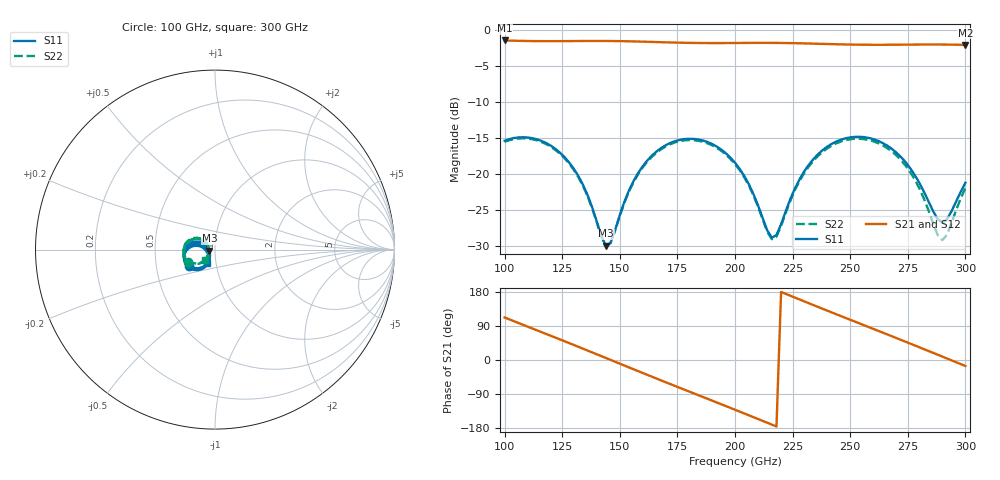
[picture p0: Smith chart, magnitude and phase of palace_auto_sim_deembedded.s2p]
! Created with skrf 1.11.0 (http://scikit-rf.org).
# GHz S DB R 50.0
!freq dBS11 angS11 dBS21 angS21 dBS12 angS12 dBS22 angS22
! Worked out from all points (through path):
!   101 points, 100 GHz to 300 GHz, reference 50 ohm
!   highest |S21| = -1.46 dB at 100 GHz (marker M1); lowest = -2.1 dB at 300 GHz (marker M2)
!   group delay of S21, straight-line fit = 6.78 ps
!   lowest |S11| = -29.9 dB at 144 GHz (marker M3), VSWR 1.07, Z = 46.9 - j0.499 ohm
!   |S11| at or under -10 dB: start of sweep to end of sweep
!   |S22| runs from -30.0 to -15.0 dB; largest |S21 - S12| = 9.4e-14
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100  -15.36 -148.0  -1.46 112.2  -1.46 112.2  -15.50 -155.3
108  -14.88 -164.3  -1.53 92.9  -1.53 92.9  -15.02 -172.2
116  -15.38 179.7  -1.56 73.6  -1.56 73.6  -15.53 171.2
126  -17.63 161.4  -1.55 49.5  -1.55 49.5  -17.78 152.1
134  -21.45 151.7  -1.54 29.9  -1.54 29.9  -21.60 142.0
144  -29.92 -170.4  -1.53 5.2  -1.53 5.2  -29.97 179.0
146  -29.50 -147.8  -1.54 0.2  -1.54 0.2  -29.55 -158.9
156  -20.92 -120.1  -1.60 -24.5  -1.60 -24.5  -21.07 -132.1
168  -16.36 -137.6  -1.70 -54.0  -1.70 -54.0  -16.53 -150.4
184  -15.18 -167.9  -1.81 -92.6  -1.81 -92.6  -15.36 178.0
200  -18.41 164.6  -1.81 -131.2  -1.81 -131.2  -18.58 149.1
206  -21.39 159.2  -1.80 -145.9  -1.80 -145.9  -21.56 143.2
216  -28.80 -163.6  -1.80 -170.6  -1.80 -170.6  -29.00 179.2
218  -28.42 -144.2  -1.80 -175.5  -1.80 -175.5  -28.65 -161.6
224  -23.45 -117.6  -1.83 169.6  -1.83 169.6  -23.69 -135.3
234  -17.91 -123.0  -1.90 145.0  -1.90 145.0  -18.15 -141.7
244  -15.47 -139.4  -1.99 120.7  -1.99 120.7  -15.71 -159.2
252  -14.82 -153.9  -2.04 101.4  -2.04 101.4  -15.09 -174.8
268  -16.47 178.5  -2.06 62.9  -2.06 62.9  -16.83 154.9
278  -20.10 167.8  -2.03 38.5  -2.03 38.5  -20.72 141.2
290  -26.68 -155.5  -2.03 8.9  -2.03 8.9  -29.15 -177.5
300  -21.19 -118.7  -2.08 -15.8  -2.08 -15.8  -21.91 -136.2
